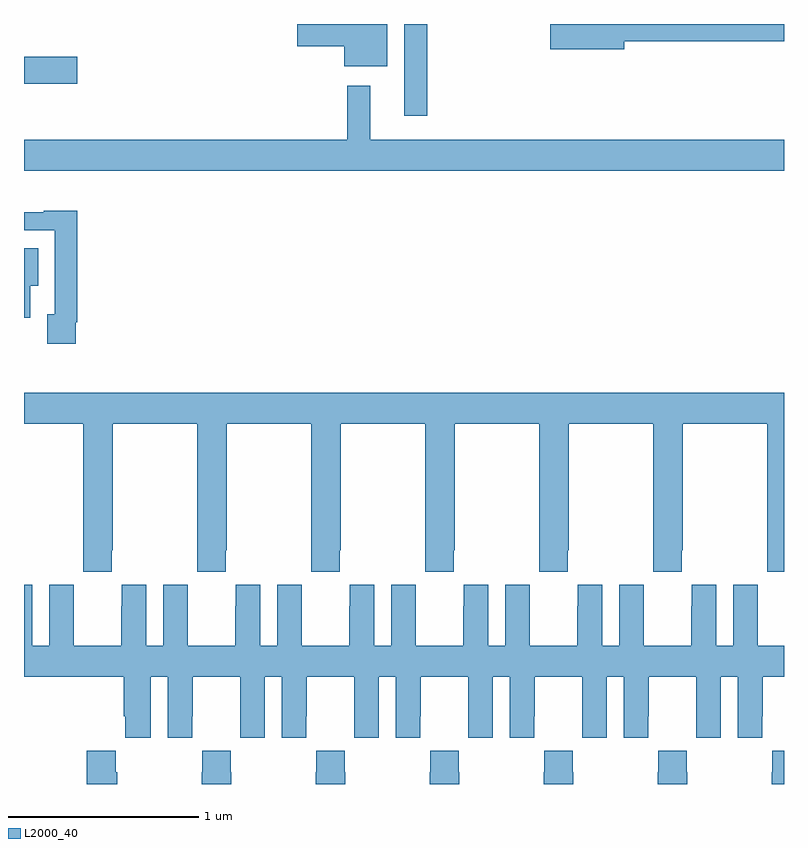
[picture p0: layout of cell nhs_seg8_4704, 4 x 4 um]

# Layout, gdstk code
import gdstk
lib = gdstk.Library(unit=1e-6, precision=1e-09)
def R(c, l, rs):  # rectangles x0, y0, x1, y1
    for r in rs: c.add(gdstk.rectangle(r[:2], r[2:], *l))
def P(c, l, *ps):  # polygons
    for p in ps: c.add(gdstk.Polygon(p, *l))
L2000_40 = (2000, 40)

nhs_seg8_4704 = lib.new_cell('nhs_seg8_4704')
R(nhs_seg8_4704, L2000_40, [(397.001,1155.417,397.123,1155.9), (395,1155.586,395.281,1155.728)])
P(nhs_seg8_4704, L2000_40, [(398.158,1155.808),(399,1155.808),(399,1155.9),(397.77,1155.9),(397.77,1155.766),(398.158,1155.766)],
  [(396.913,1155.9),(396.438,1155.9),(396.438,1155.784),(396.686,1155.784),(396.686,1155.677),(396.913,1155.677)],
  [(399,1155.292),(396.823,1155.292),(396.823,1155.574),(396.702,1155.574),(396.702,1155.292),(395,1155.292),(395,1155.128),(399,1155.128)],
  [(395.272,1154.329),(395.279,1154.329),(395.279,1154.917),(395.103,1154.917),(395.103,1154.91),(395,1154.91),(395,1154.814),(395.163,1154.814),(395.163,1154.373),(395.123,1154.373),(395.123,1154.217),(395.272,1154.217)],
  [(395.032,1154.522),(395.074,1154.522),(395.074,1154.719),(395,1154.719),(395,1154.353),(395.032,1154.353)],
  [(395.463,1153.129),(395.466,1153.129),(395.466,1153.796),(395.911,1153.796),(395.911,1153.129),(395.913,1153.129),(395.913,1153.017),(396.063,1153.017),(396.063,1153.129),(396.066,1153.129),(396.066,1153.796),(396.511,1153.796),(396.511,1153.129),(396.513,1153.129),(396.513,1153.017),(396.663,1153.017),(396.663,1153.129),(396.666,1153.129),(396.666,1153.796),(397.111,1153.796),(397.111,1153.129),(397.113,1153.129),(397.113,1153.017),(397.263,1153.017),(397.263,1153.129),(397.266,1153.129),(397.266,1153.796),(397.711,1153.796),(397.711,1153.129),(397.713,1153.129),(397.713,1153.017),(397.863,1153.017),(397.863,1153.129),(397.866,1153.129),(397.866,1153.796),(398.311,1153.796),(398.311,1153.129),(398.313,1153.129),(398.313,1153.017),(398.463,1153.017),(398.463,1153.129),(398.466,1153.129),(398.466,1153.796),(398.911,1153.796),(398.911,1153.129),(398.913,1153.129),(398.913,1153.017),(399,1153.017),(399,1153.96),(395,1153.96),(395,1153.796),(395.311,1153.796),(395.311,1153.129),(395.313,1153.129),(395.313,1153.017),(395.463,1153.017)],
  [(398.068,1152.464),(398.156,1152.464),(398.156,1152.144),(398.286,1152.144),(398.286,1152.256),(398.287,1152.256),(398.287,1152.464),(398.537,1152.464),(398.537,1152.256),(398.538,1152.256),(398.538,1152.144),(398.668,1152.144),(398.668,1152.464),(398.756,1152.464),(398.756,1152.144),(398.886,1152.144),(398.886,1152.256),(398.887,1152.256),(398.887,1152.464),(399,1152.464),(399,1152.628),(398.863,1152.628),(398.863,1152.836),(398.862,1152.836),(398.862,1152.949),(398.732,1152.949),(398.732,1152.628),(398.644,1152.628),(398.644,1152.949),(398.514,1152.949),(398.514,1152.836),(398.513,1152.836),(398.513,1152.628),(398.263,1152.628),(398.263,1152.836),(398.262,1152.836),(398.262,1152.949),(398.132,1152.949),(398.132,1152.628),(398.044,1152.628),(398.044,1152.949),(397.914,1152.949),(397.914,1152.836),(397.913,1152.836),(397.913,1152.628),(397.663,1152.628),(397.663,1152.836),(397.662,1152.836),(397.662,1152.949),(397.532,1152.949),(397.532,1152.628),(397.444,1152.628),(397.444,1152.949),(397.314,1152.949),(397.314,1152.836),(397.313,1152.836),(397.313,1152.628),(397.063,1152.628),(397.063,1152.836),(397.062,1152.836),(397.062,1152.949),(396.932,1152.949),(396.932,1152.628),(396.844,1152.628),(396.844,1152.949),(396.714,1152.949),(396.714,1152.836),(396.713,1152.836),(396.713,1152.628),(396.463,1152.628),(396.463,1152.836),(396.462,1152.836),(396.462,1152.949),(396.332,1152.949),(396.332,1152.628),(396.244,1152.628),(396.244,1152.949),(396.114,1152.949),(396.114,1152.836),(396.113,1152.836),(396.113,1152.628),(395.863,1152.628),(395.863,1152.836),(395.862,1152.836),(395.862,1152.949),(395.732,1152.949),(395.732,1152.628),(395.644,1152.628),(395.644,1152.949),(395.514,1152.949),(395.514,1152.836),(395.513,1152.836),(395.513,1152.628),(395.263,1152.628),(395.263,1152.836),(395.262,1152.836),(395.262,1152.949),(395.132,1152.949),(395.132,1152.628),(395.044,1152.628),(395.044,1152.949),(395,1152.949),(395,1152.464),(395.525,1152.464),(395.525,1152.256),(395.534,1152.256),(395.534,1152.144),(395.668,1152.144),(395.668,1152.464),(395.756,1152.464),(395.756,1152.144),(395.886,1152.144),(395.886,1152.256),(395.887,1152.256),(395.887,1152.464),(396.137,1152.464),(396.137,1152.256),(396.138,1152.256),(396.138,1152.144),(396.268,1152.144),(396.268,1152.464),(396.356,1152.464),(396.356,1152.144),(396.486,1152.144),(396.486,1152.256),(396.487,1152.256),(396.487,1152.464),(396.737,1152.464),(396.737,1152.256),(396.738,1152.256),(396.738,1152.144),(396.868,1152.144),(396.868,1152.464),(396.956,1152.464),(396.956,1152.144),(397.086,1152.144),(397.086,1152.256),(397.087,1152.256),(397.087,1152.464),(397.337,1152.464),(397.337,1152.256),(397.338,1152.256),(397.338,1152.144),(397.468,1152.144),(397.468,1152.464),(397.556,1152.464),(397.556,1152.144),(397.686,1152.144),(397.686,1152.256),(397.687,1152.256),(397.687,1152.464),(397.937,1152.464),(397.937,1152.256),(397.938,1152.256),(397.938,1152.144),(398.068,1152.144)],
  [(396.09,1151.963),(396.087,1151.963),(396.087,1152.076),(395.937,1152.076),(395.937,1151.963),(395.935,1151.963),(395.935,1151.9),(396.09,1151.9)],
  [(395.49,1151.963),(395.483,1151.963),(395.483,1152.076),(395.33,1152.076),(395.33,1151.9),(395.49,1151.9)],
  [(396.69,1151.963),(396.687,1151.963),(396.687,1152.076),(396.537,1152.076),(396.537,1151.963),(396.535,1151.963),(396.535,1151.9),(396.69,1151.9)],
  [(397.29,1151.963),(397.287,1151.963),(397.287,1152.076),(397.137,1152.076),(397.137,1151.963),(397.135,1151.963),(397.135,1151.9),(397.29,1151.9)],
  [(397.89,1151.963),(397.887,1151.963),(397.887,1152.076),(397.737,1152.076),(397.737,1151.963),(397.735,1151.963),(397.735,1151.9),(397.89,1151.9)],
  [(398.49,1151.963),(398.487,1151.963),(398.487,1152.076),(398.337,1152.076),(398.337,1151.963),(398.335,1151.963),(398.335,1151.9),(398.49,1151.9)],
  [(399,1152.076),(398.937,1152.076),(398.937,1151.963),(398.935,1151.963),(398.935,1151.9),(399,1151.9)])

lib.write_gds('nhs_seg8_4704.gds')
